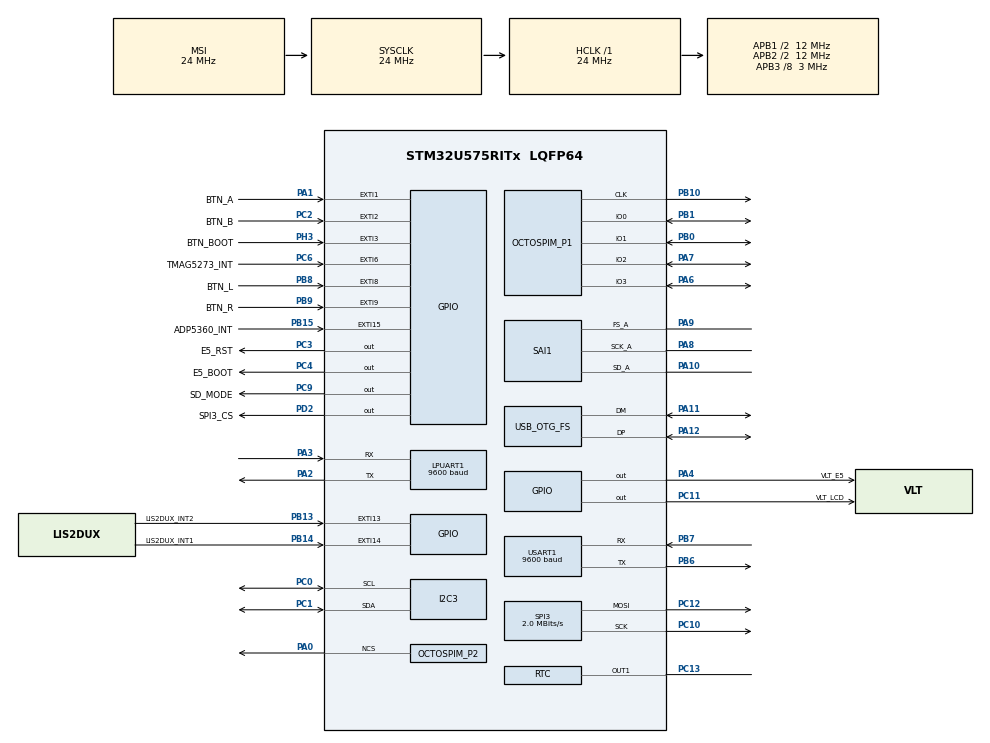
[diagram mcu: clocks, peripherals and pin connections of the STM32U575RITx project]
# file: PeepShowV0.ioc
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CORTEX_M33_NS.userName=CORTEX_M33
FILEX.FX_LX_NOR_INTERFACE=1
FILEX.GENERATE_FILEX_INIT_CODE=false
FILEX.useRTOS=1
GPDMA1.BLKHWREQUEST_GPDMACH3-SIMPLEREQUEST_GPDMACH3=DMA_BREQ_BLOCK
GPDMA1.BLKHWREQUEST_GPDMACH4-SIMPLEREQUEST_GPDMACH4=DMA_BREQ_BLOCK
GPDMA1.BLKHWREQUEST_GPDMACH5-SIMPLEREQUEST_GPDMACH5=DMA_BREQ_BLOCK
GPDMA1.CIRCULARMODE_GPDMACH3=ENABLE
GPDMA1.DATAEXCHANGE_GPDMACH4-SIMPLEREQUEST_GPDMACH4=DMA_EXCHANGE_DEST_BYTE|DMA_EXCHANGE_DEST_HALFWORD|DMA_EXCHANGE_SRC_BYTE
GPDMA1.DATAEXCHANGE_GPDMACH5-SIMPLEREQUEST_GPDMACH5=DMA_EXCHANGE_DEST_BYTE|DMA_EXCHANGE_DEST_HALFWORD|DMA_EXCHANGE_SRC_BYTE
GPDMA1.DESTDATAWIDTH_GPDMACH3=DMA_DEST_DATAWIDTH_HALFWORD
GPDMA1.DESTINC_GPDMACH4=DMA_DINC_INCREMENTED
GPDMA1.DIRECTION_GPDMACH2=DMA_MEMORY_TO_PERIPH
GPDMA1.DIRECTION_GPDMACH3=DMA_MEMORY_TO_PERIPH
GPDMA1.DIRECTION_GPDMACH4=DMA_PERIPH_TO_MEMORY
GPDMA1.DIRECTION_GPDMACH5=DMA_MEMORY_TO_PERIPH
GPDMA1.DMAHANDLE_GPDMACH3=hdmatx
GPDMA1.IPHANDLE_GPDMACH2-SIMPLEREQUEST_GPDMACH2=__NULL
GPDMA1.IPHANDLE_GPDMACH3-SIMPLEREQUEST_GPDMACH3=__NULL
GPDMA1.IPHANDLE_GPDMACH4-SIMPLEREQUEST_GPDMACH4=__NULL
GPDMA1.IPHANDLE_GPDMACH5-SIMPLEREQUEST_GPDMACH5=__NULL
GPDMA1.PRIORITY_GPDMACH2=DMA_LOW_PRIORITY_MID_WEIGHT
GPDMA1.PRIORITY_GPDMACH4=DMA_LOW_PRIORITY_HIGH_WEIGHT
GPDMA1.PRIORITY_GPDMACH5=DMA_LOW_PRIORITY_HIGH_WEIGHT
GPDMA1.REQUEST_GPDMACH2=GPDMA1_REQUEST_USART1_TX
GPDMA1.REQUEST_GPDMACH3=GPDMA1_REQUEST_SAI1_A
GPDMA1.REQUEST_GPDMACH4=GPDMA1_REQUEST_OCTOSPI1
GPDMA1.REQUEST_GPDMACH5=GPDMA1_REQUEST_OCTOSPI1
GPDMA1.SRCDATAWIDTH_GPDMACH3=DMA_SRC_DATAWIDTH_HALFWORD
GPDMA1.SRCINC_GPDMACH2=DMA_SINC_INCREMENTED
GPDMA1.SRCINC_GPDMACH3=DMA_SINC_INCREMENTED
GPDMA1.SRCINC_GPDMACH5=DMA_SINC_INCREMENTED
I2C3.Timing=0x00000E14
LEVELX.LX_NOR_Custom_Interface=1
LEVELX.LX_NOR_Flash_Support=1
LEVELX.LX_THREAD_SAFE_ENABLE=1
LPDMA1.DIRECTION_LPDMACH0=DMA_MEMORY_TO_PERIPH
LPDMA1.IPHANDLE_LPDMACH0-SIMPLEREQUEST_LPDMACH0=__NULL
LPDMA1.PRIORITY_LPDMACH0=DMA_LOW_PRIORITY_HIGH_WEIGHT
LPDMA1.REQUEST_LPDMACH0=LPDMA1_REQUEST_SPI3_TX
LPDMA1.SRCINC_LPDMACH0=DMA_SINC_INCREMENTED
LPUART1.BaudRate=9600
Mcu.Family=STM32U5
Mcu.Name=STM32U575RITx
Mcu.Package=LQFP64
NVIC.EXTI13_IRQn=true\:5\:0\:true\:false\:true\:false\:true\:true\:true
NVIC.EXTI14_IRQn=true\:5\:0\:true\:false\:true\:false\:true\:true\:true
NVIC.EXTI15_IRQn=true\:5\:0\:true\:false\:true\:false\:true\:true\:true
NVIC.EXTI1_IRQn=true\:5\:0\:true\:false\:true\:false\:true\:true\:true
NVIC.EXTI2_IRQn=true\:5\:0\:true\:false\:true\:false\:true\:true\:true
NVIC.EXTI3_IRQn=true\:5\:0\:true\:false\:true\:false\:true\:true\:true
NVIC.EXTI6_IRQn=true\:5\:0\:true\:false\:true\:false\:true\:true\:true
NVIC.EXTI8_IRQn=true\:5\:0\:true\:false\:true\:false\:true\:true\:true
NVIC.EXTI9_IRQn=true\:5\:0\:true\:false\:true\:false\:true\:true\:true
NVIC.GPDMA1_Channel2_IRQn=true\:5\:0\:true\:false\:true\:false\:false\:true\:true
NVIC.GPDMA1_Channel3_IRQn=true\:5\:0\:true\:false\:true\:false\:false\:true\:true
NVIC.GPDMA1_Channel4_IRQn=true\:5\:0\:true\:false\:true\:false\:false\:true\:true
NVIC.GPDMA1_Channel5_IRQn=true\:5\:0\:true\:false\:true\:false\:false\:true\:true
NVIC.LPDMA1_Channel0_IRQn=true\:5\:0\:true\:false\:true\:false\:true\:true\:true
NVIC.OTG_FS_IRQn=true\:0\:0\:false\:false\:true\:false\:true\:true\:true
NVIC.PriorityGroup=NVIC_PRIORITYGROUP_4
NVIC.RTC_IRQn=true\:0\:0\:false\:false\:true\:false\:true\:true\:true
NVIC.SAI1_IRQn=true\:5\:0\:true\:false\:true\:false\:true\:true\:true
NVIC.SPI3_IRQn=true\:5\:0\:true\:false\:true\:false\:true\:true\:true
NVIC.TIM2_IRQn=true\:5\:0\:true\:false\:true\:true\:true\:true\:true
NVIC.TIM6_IRQn=true\:15\:0\:false\:false\:true\:false\:false\:true\:true
NVIC.TimeBase=TIM6_IRQn
NVIC.TimeBaseIP=TIM6
NVIC.USART1_IRQn=true\:5\:0\:true\:false\:true\:false\:true\:true\:true
OCTOSPI1.ChipSelectHighTime=2
OCTOSPI1.ClockPrescaler=8
OCTOSPI1.DeviceSize=24
PA0.Mode=OCTOSPI1_Port2_NCS
PA0.PinAttribute=Free
PA0.Signal=OCTOSPIM_P2_NCS
PA1.GPIO_Label=BTN_A
PA1.GPIO_ModeDefaultEXTI=GPIO_MODE_IT_RISING_FALLING
PA1.PinAttribute=Free
PA1.Signal=GPXTI1
PA10.Mode=SAI_A_Master
PA10.PinAttribute=Free
PA10.Signal=SAI1_SD_A
PA11.Mode=Device_Only
PA11.PinAttribute=Free
PA11.Signal=USB_OTG_FS_DM
PA12.Mode=Device_Only
PA12.PinAttribute=Free
PA12.Signal=USB_OTG_FS_DP
PA13\ (JTMS/SWDIO).Mode=Serial_Wire
PA13\ (JTMS/SWDIO).PinAttribute=Free
PA13\ (JTMS/SWDIO).Signal=DEBUG_JTMS-SWDIO
PA14\ (JTCK/SWCLK).Mode=Serial_Wire
PA14\ (JTCK/SWCLK).PinAttribute=Free
PA14\ (JTCK/SWCLK).Signal=DEBUG_JTCK-SWCLK
PA2.Mode=Asynchronous
PA2.PinAttribute=Free
PA2.Signal=LPUART1_TX
PA3.Mode=Asynchronous
PA3.PinAttribute=Free
PA3.Signal=LPUART1_RX
PA4.GPIO_Label=VLT_E5
PA4.PinAttribute=Free
PA4.PinState=GPIO_PIN_SET
PA4.Signal=GPIO_Output
PA6.Mode=OCTOSPI1_IOL_Port1L
PA6.PinAttribute=Free
PA6.Signal=OCTOSPIM_P1_IO3
PA7.Mode=OCTOSPI1_IOL_Port1L
PA7.PinAttribute=Free
PA7.Signal=OCTOSPIM_P1_IO2
PA8.Mode=SAI_A_Master
PA8.PinAttribute=Free
PA8.Signal=SAI1_SCK_A
PA9.Mode=SAI_A_Master
PA9.PinAttribute=Free
PA9.Signal=SAI1_FS_A
PB0.Mode=OCTOSPI1_IOL_Port1L
PB0.PinAttribute=Free
PB0.Signal=OCTOSPIM_P1_IO1
PB1.Mode=OCTOSPI1_IOL_Port1L
PB1.PinAttribute=Free
PB1.Signal=OCTOSPIM_P1_IO0
PB10.Mode=O1_P1_CLK
PB10.PinAttribute=Free
PB10.Signal=OCTOSPIM_P1_CLK
PB13.GPIO_Label=LIS2DUX_INT2
PB13.PinAttribute=Free
PB13.Signal=GPXTI13
PB14.GPIO_Label=LIS2DUX_INT1
PB14.PinAttribute=Free
PB14.Signal=GPXTI14
PB15.GPIO_Label=ADP5360_INT
PB15.PinAttribute=Free
PB15.Signal=GPXTI15
PB6.Mode=Asynchronous
PB6.PinAttribute=Free
PB6.Signal=USART1_TX
PB7.Mode=Asynchronous
PB7.PinAttribute=Free
PB7.Signal=USART1_RX
PB8.GPIO_Label=BTN_L
PB8.GPIO_ModeDefaultEXTI=GPIO_MODE_IT_RISING_FALLING
PB8.PinAttribute=Free
PB8.Signal=GPXTI8
PB9.GPIO_Label=BTN_R
PB9.GPIO_ModeDefaultEXTI=GPIO_MODE_IT_RISING_FALLING
PB9.PinAttribute=Free
PB9.Signal=GPXTI9
PC0.Mode=I2C
PC0.PinAttribute=Free
PC0.Signal=I2C3_SCL
PC1.Mode=I2C
PC1.PinAttribute=Free
PC1.Signal=I2C3_SDA
PC10.Mode=TX_Only_Simplex_Unidirect_Master
PC10.PinAttribute=Free
PC10.Signal=SPI3_SCK
PC11.GPIO_Label=VLT_LCD
PC11.PinAttribute=Free
PC11.PinState=GPIO_PIN_RESET
PC11.Signal=GPIO_Output
PC12.Mode=TX_Only_Simplex_Unidirect_Master
PC12.PinAttribute=Free
PC12.Signal=SPI3_MOSI
PC13.Mode=Calibration_1Hz
PC13.PinAttribute=Free
PC13.Signal=RTC_OUT1
PC14-OSC32_IN\ (PC14).Mode=LSE-External-Clock-Source
PC14-OSC32_IN\ (PC14).PinAttribute=Free
PC14-OSC32_IN\ (PC14).Signal=RCC_OSC32_IN
PC2.GPIO_Label=BTN_B
PC2.GPIO_ModeDefaultEXTI=GPIO_MODE_IT_RISING_FALLING
PC2.PinAttribute=Free
PC2.Signal=GPXTI2
PC3.GPIO_Label=E5_RST
PC3.PinAttribute=Free
PC3.PinState=GPIO_PIN_SET
PC3.Signal=GPIO_Output
PC4.GPIO_Label=E5_BOOT
PC4.PinAttribute=Free
PC4.Signal=GPIO_Output
PC6.GPIO_Label=TMAG5273_INT
PC6.PinAttribute=Free
PC6.Signal=GPXTI6
PC9.GPIO_Label=SD_MODE
PC9.PinAttribute=Free
PC9.Signal=GPIO_Output
PD2.GPIO_Label=SPI3_CS
PD2.PinAttribute=Free
PD2.Signal=GPIO_Output
PH3-BOOT0.GPIO_Label=BTN_BOOT
PH3-BOOT0.GPIO_ModeDefaultEXTI=GPIO_MODE_IT_RISING_FALLING
PH3-BOOT0.PinAttribute=Free
PH3-BOOT0.Signal=GPXTI3
PWR.DMA2DPowerDownInStopMode=PWR_DMA2DRAM_FULL_STOP_RETENTION
PWR.PKA32RAMPowerDownInStopMode=PWR_PKA32RAM_FULL_STOP_RETENTION
PWR.PeriphPowerDownInStopMode=__NULL
ProjectManager.HeapSize=0x1000
ProjectManager.StackSize=0x1000
ProjectManager.TargetToolchain=CMake
RCC.ADCFreq_Value=16000000
RCC.AHBFreq_Value=24000000
RCC.APB1CLKDivider=RCC_HCLK_DIV2
RCC.APB1Freq_Value=12000000
RCC.APB1TimFreq_Value=24000000
RCC.APB2CLKDivider=RCC_HCLK_DIV2
RCC.APB2Freq_Value=12000000
RCC.APB2TimFreq_Value=24000000
RCC.APB3CLKDivider=RCC_HCLK_DIV8
RCC.APB3Freq_Value=3000000
RCC.CortexFreq_Value=24000000
RCC.EPOD_VALUE=24000000
RCC.HCLKFreq_Value=24000000
RCC.HSE_VALUE=16000000
RCC.HSI48_VALUE=48000000
RCC.HSI_VALUE=16000000
RCC.I2C3CLockSelection=RCC_I2C3CLKSOURCE_MSIK
RCC.LPUART1CLockSelectionVirtual=RCC_LPUART1CLKSOURCE_LSE
RCC.LSE_VALUE=32768
RCC.LSIDIV_VALUE=32000
RCC.MSIClockRange=RCC_MSIRANGE_1
RCC.MSIKERON=true
RCC.MSI_VALUE=24000000
RCC.OCTOSPIMCLockSelection=RCC_OSPICLKSOURCE_PLL2
RCC.PLL1P=125
RCC.PLL1R=1
RCC.PLL2FRACN=0
RCC.PLL2N=32
RCC.PLL2P=125
RCC.PLL2Q=8
RCC.PLL2Source=RCC_PLLSOURCE_HSI
RCC.PLL3FRACN=0
RCC.PLL3M=9
RCC.PLL3N=83
RCC.PLL3P=27
RCC.PLLFRACN=0
RCC.PLLN=10
RCC.RTCClockSelection=RCC_RTCCLKSOURCE_LSE
RCC.SPI3CLockSelection=RCC_SPI3CLKSOURCE_MSIK
RCC.SYSCLKFreq_VALUE=24000000
RCC.USART1CLockSelectionVirtual=RCC_USART1CLKSOURCE_HSI
RCC.USBFreq_Value=48000000
RCC.VCOOutputFreq_Value=240000000
RTC.rtcPrivilegeFull=RTC_PRIVILEGE_FULL_NO
SAI1.AudioFrequency-SAI_A_Master=SAI_AUDIO_FREQUENCY_16K
SAI1.ErrorAudioFreq-SAI_A_Master=45.22 %
SAI1.InitProtocol-SAI_A_Master=Enable
SAI1.Instance-SAI_A_Master=SAI$Index_Block_A
SAI1.MckOutput-SAI_A_Master=SAI_MCK_OUTPUT_DISABLE
SAI1.NoDivider-SAI_A_Master=SAI_MASTERDIVIDER_DISABLE
SAI1.OutputDrive-SAI_A_Master=SAI_OUTPUTDRIVE_ENABLE
SAI1.RealAudioFreq-SAI_A_Master=16.0 KHz
SAI1.VirtualMode-SAI_A_Master=VM_MASTER
SAI1.VirtualProtocol-SAI_A_BASIC=VM_BASIC_PROTOCOL
SPI3.BaudRatePrescaler=SPI_BAUDRATEPRESCALER_2
SPI3.CalculateBaudRate=2.0 MBits/s
SPI3.Direction=SPI_DIRECTION_2LINES_TXONLY
SPI3.FirstBit=SPI_FIRSTBIT_LSB
SPI3.Mode=SPI_MODE_MASTER
SPI3.NSSPMode=SPI_NSS_PULSE_DISABLE
SPI3.TriggerState=SPI_AUTO_MODE_DISABLE
SPI3.VirtualType=VM_MASTER
THREADX.TX_APP_GENERATE_INIT_CODE=true
THREADX.TX_APP_MEM_POOL_SIZE=16384
THREADX.TX_ENABLE_BASEPRI_SUPPORT=1
THREADX.TX_LOW_POWER=1
THREADX.TX_TIMER_THREAD_PRIORITY=2
TIM2.PeriodNoDither=33332
TIM2.Prescaler=15
USART1.BaudRate=9600
USART1.VirtualMode-Asynchronous=VM_ASYNC
USART1.WordLength=WORDLENGTH_8B
USBX.BSP.number=1
USBX.Core_System=1
USBX.USBD_COMPOSITE_USE_IAD=0
USBX.USBD_MANUFACTURER_STRING=Roscosmo
USBX.USBD_PRODUCT_STRING=PEEPSHOW
USBX.UX_DEVICE_STORAGE=1
USBX.UX_Device_Controller=1
USBX.UX_Device_CoreStack=1
USBX0.BSP.STBoard=false
USBX0.BSP.api=Unknown
USBX0.BSP.condition=SEMAOoUSBOoOTGOoFSOoDEVICEOoFOROoUSBX & \!DIE455
USBX0.BSP.instance=USB_OTG_FS
USBX0.BSP.ip=USB_OTG_FS
USBX0.BSP.mode=Device_Only
USBX0.BSP.name=USBDevice
USBX0.BSP.solution=USB_OTG_FS
USB_OTG_FS.VirtualMode=Device_Only
VP_FILEX_VS_FileOoSystemJjFileXJjCore.Mode=FileX_Core
VP_FILEX_VS_LevelXOoNOROointerface.Mode=LevelX_NOR_interface
VP_GPDMA1_VS_GPDMACH2.Mode=SIMPLEREQUEST_GPDMACH2
VP_GPDMA1_VS_GPDMACH3.Mode=SIMPLEREQUEST_GPDMACH3
VP_GPDMA1_VS_GPDMACH4.Mode=SIMPLEREQUEST_GPDMACH4
VP_GPDMA1_VS_GPDMACH5.Mode=SIMPLEREQUEST_GPDMACH5
VP_ICACHE_VS_ICACHE.Mode=DirectMappedCache
VP_LEVELX_VS_FileOoSystemJjLevelXJjNOR.Mode=LevelX_NOR_Flash_Support
VP_LEVELX_VS_NOROocustomOointerface.Mode=NOR_custom_interface
VP_LPBAMQUEUE_VS_QUEUE.Mode=QUEUEMODE
VP_LPBAM_VS_SIG1.Mode=SmartRun
VP_LPBAM_VS_SIG4.Mode=LPDMA1
VP_LPDMA1_VS_LPDMACH0.Mode=SIMPLEREQUEST_LPDMACH0
VP_MEMORYMAP_VS_MEMORYMAP.Mode=CurAppReg
VP_OCTOSPI1_VS_quad.Mode=quad_mode
VP_PWR_VS_LPOM.Mode=PowerOptimisation
VP_PWR_VS_SECSignals.Mode=Security/Privilege
VP_RTC_VS_RTC_Activate.Mode=RTC_Enabled
VP_RTC_VS_RTC_Calendar.Mode=RTC_Calendar
VP_RTC_VS_RTC_WakeUp_intern.Mode=WakeUp
VP_SAI1_VP_$IpInstance_SAIA_SAI_BASIC.Mode=SAI_A_BASIC
VP_SYS_VS_tim6.Mode=TIM6
VP_THREADX_VS_RTOSJjThreadXJjCoreJjDefault.Mode=Core_Default
VP_THREADX_VS_RTOSJjThreadXJjLow_Power_Support.Mode=Low_Power_Support
VP_TIM2_VS_ClockSourceINT.Mode=Internal
VP_USBX_Core_System.Mode=Core_System
VP_USBX_UX\ Device\ Controller_FS.Mode=UX_Device_Controller_FS
VP_USBX_UX\ Device\ CoreStack_FS.Mode=UX_Device_CoreStack_FS
VP_USBX_UX\ Device\ MSC_FS.Mode=UX_Device_class_MSC_FS
board=custom

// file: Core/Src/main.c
/* USER CODE BEGIN Header */
/**
  ******************************************************************************
  * @file           : main.c
  * @brief          : Main program body
  ******************************************************************************
  * @attention
  *
  * Copyright (c) 2026 STMicroelectronics.
  * All rights reserved.
  *
  * This software is licensed under terms that can be found in the LICENSE file
  * in the root directory of this software component.
  * If no LICENSE file comes with this software, it is provided AS-IS.
  *
  ******************************************************************************
  */
/* USER CODE END Header */
#include "app_threadx.h"
#include "main.h"

/* USER CODE BEGIN Includes */
#include "knobs_autogen.h"
/* USER CODE END Includes */

I2C_HandleTypeDef hi2c3;

UART_HandleTypeDef hlpuart1;
UART_HandleTypeDef huart1;
DMA_HandleTypeDef handle_GPDMA1_Channel2;

OSPI_HandleTypeDef hospi1;
DMA_HandleTypeDef handle_GPDMA1_Channel5;
DMA_HandleTypeDef handle_GPDMA1_Channel4;

RTC_HandleTypeDef hrtc;

SAI_HandleTypeDef hsai_BlockA1;
DMA_NodeTypeDef Node_GPDMA1_Channel3;
DMA_QListTypeDef List_GPDMA1_Channel3;
DMA_HandleTypeDef handle_GPDMA1_Channel3;

SPI_HandleTypeDef hspi3;
DMA_HandleTypeDef handle_LPDMA1_Channel0;

TIM_HandleTypeDef htim2;

PCD_HandleTypeDef hpcd_USB_OTG_FS;

void SystemClock_Config(void);
void PeriphCommonClock_Config(void);
static void SystemPower_Config(void);
static void MX_GPIO_Init(void);
static void MX_GPDMA1_Init(void);
static void MX_LPDMA1_Init(void);
static void MX_RTC_Init(void);
static void MX_SPI3_Init(void);
static void MX_LPUART1_UART_Init(void);
static void MX_I2C3_Init(void);
static void MX_OCTOSPI1_Init(void);
static void MX_SAI1_Init(void);
static void MX_USART1_UART_Init(void);
static void MX_ICACHE_Init(void);
static void MX_USB_OTG_FS_PCD_Init(void);
static void MX_TIM2_Init(void);
/* USER CODE BEGIN PFP */
static void ApplyDebugLowPowerPolicy(void);

/* USER CODE END PFP */

/* USER CODE BEGIN 0 */
static void ApplyDebugLowPowerPolicy(void)
{
  if (KNOB_DEBUG_SWO_ENABLE != 0)
  {
    HAL_DBGMCU_EnableDBGStopMode();
    HAL_DBGMCU_EnableDBGStandbyMode();
  }
  else
  {
    HAL_DBGMCU_DisableDBGStopMode();
    HAL_DBGMCU_DisableDBGStandbyMode();
  }
}

/* USER CODE END 0 */

int main(void)
{

  /* MCU Configuration--------------------------------------------------------*/

  /* Reset of all peripherals, Initializes the Flash interface and the Systick. */

  HAL_Init();

  /* Configure the system clock */
  SystemClock_Config();

  /* Configure the peripherals common clocks */
  PeriphCommonClock_Config();

  /* Configure the System Power */
  SystemPower_Config();

  /* USER CODE BEGIN SysInit */
  ApplyDebugLowPowerPolicy();

  /* USER CODE END SysInit */

  /* Initialize all configured peripherals */
  MX_GPIO_Init();
  MX_GPDMA1_Init();
  MX_LPDMA1_Init();
  MX_RTC_Init();
  MX_SPI3_Init();
  MX_LPUART1_UART_Init();
  MX_I2C3_Init();
  MX_OCTOSPI1_Init();
  MX_SAI1_Init();
  MX_USART1_UART_Init();
  MX_ICACHE_Init();
  MX_USB_OTG_FS_PCD_Init();
  MX_TIM2_Init();
  /* USER CODE BEGIN 2 */
  /* Keep OTG FS IRQ masked until USBX stack is fully ready. */
  HAL_NVIC_DisableIRQ(OTG_FS_IRQn);
  NVIC_ClearPendingIRQ(OTG_FS_IRQn);
  /* USER CODE END 2 */

  MX_ThreadX_Init();

  /* We should never get here as control is now taken by the scheduler */

  /* Infinite loop */
  while (1)
  {

  }
}

void SystemClock_Config(void)
{
  RCC_OscInitTypeDef RCC_OscInitStruct = {0};
  RCC_ClkInitTypeDef RCC_ClkInitStruct = {0};

  /** Configure the main internal regulator output voltage
  */
  if (HAL_PWREx_ControlVoltageScaling(PWR_REGULATOR_VOLTAGE_SCALE3) != HAL_OK)
  {
    Error_Handler();
  }

  /** Initializes the CPU, AHB and APB buses clocks
  */
  RCC_OscInitStruct.OscillatorType = RCC_OSCILLATORTYPE_HSI48|RCC_OSCILLATORTYPE_HSI
                              |RCC_OSCILLATORTYPE_LSE|RCC_OSCILLATORTYPE_MSI
                              |RCC_OSCILLATORTYPE_MSIK;
  RCC_OscInitStruct.LSEState = RCC_LSE_BYPASS;
  RCC_OscInitStruct.HSIState = RCC_HSI_ON;
  RCC_OscInitStruct.HSI48State = RCC_HSI48_ON;
  RCC_OscInitStruct.HSICalibrationValue = RCC_HSICALIBRATION_DEFAULT;
  RCC_OscInitStruct.MSIState = RCC_MSI_ON;
  RCC_OscInitStruct.MSICalibrationValue = RCC_MSICALIBRATION_DEFAULT;
  RCC_OscInitStruct.MSIClockRange = RCC_MSIRANGE_1;
  RCC_OscInitStruct.MSIKClockRange = RCC_MSIKRANGE_4;
  RCC_OscInitStruct.MSIKState = RCC_MSIK_ON;
  RCC_OscInitStruct.PLL.PLLState = RCC_PLL_NONE;
  if (HAL_RCC_OscConfig(&RCC_OscInitStruct) != HAL_OK)
  {
    Error_Handler();
  }

  /** Initializes the CPU, AHB and APB buses clocks
  */
  RCC_ClkInitStruct.ClockType = RCC_CLOCKTYPE_HCLK|RCC_CLOCKTYPE_SYSCLK
                              |RCC_CLOCKTYPE_PCLK1|RCC_CLOCKTYPE_PCLK2
                              |RCC_CLOCKTYPE_PCLK3;
  RCC_ClkInitStruct.SYSCLKSource = RCC_SYSCLKSOURCE_MSI;
  RCC_ClkInitStruct.AHBCLKDivider = RCC_SYSCLK_DIV1;
  RCC_ClkInitStruct.APB1CLKDivider = RCC_HCLK_DIV2;
  RCC_ClkInitStruct.APB2CLKDivider = RCC_HCLK_DIV2;
  RCC_ClkInitStruct.APB3CLKDivider = RCC_HCLK_DIV8;

  if (HAL_RCC_ClockConfig(&RCC_ClkInitStruct, FLASH_LATENCY_0) != HAL_OK)
  {
    Error_Handler();
  }

  /** Enable the force of MSIK in stop mode
  */
  __HAL_RCC_MSIKSTOP_ENABLE();
}

void PeriphCommonClock_Config(void)
{
  RCC_PeriphCLKInitTypeDef PeriphClkInit = {0};

  /** Initializes the common periph clock
  */
  PeriphClkInit.PeriphClockSelection = RCC_PERIPHCLK_OSPI|RCC_PERIPHCLK_SAI1;
  PeriphClkInit.Sai1ClockSelection = RCC_SAI1CLKSOURCE_PLL2;
  PeriphClkInit.OspiClockSelection = RCC_OSPICLKSOURCE_PLL2;
  PeriphClkInit.PLL2.PLL2Source = RCC_PLLSOURCE_HSI;
  PeriphClkInit.PLL2.PLL2M = 1;
  PeriphClkInit.PLL2.PLL2N = 32;
  PeriphClkInit.PLL2.PLL2P = 125;
  PeriphClkInit.PLL2.PLL2Q = 8;
  PeriphClkInit.PLL2.PLL2R = 2;
  PeriphClkInit.PLL2.PLL2RGE = RCC_PLLVCIRANGE_1;
  PeriphClkInit.PLL2.PLL2FRACN = 0;
  PeriphClkInit.PLL2.PLL2ClockOut = RCC_PLL2_DIVP|RCC_PLL2_DIVQ;
  if (HAL_RCCEx_PeriphCLKConfig(&PeriphClkInit) != HAL_OK)
  {
    Error_Handler();
  }
}

/**
  * @brief Power Configuration
  * @retval None
  */
static void SystemPower_Config(void)
{

  /*
   * SRAM Power Down In Stop Mode Config
   */
  HAL_PWREx_DisableRAMsContentStopRetention(PWR_DMA2DRAM_FULL_STOP_RETENTION);
  HAL_PWREx_DisableRAMsContentStopRetention(PWR_PKA32RAM_FULL_STOP_RETENTION);
/* USER CODE BEGIN PWR */
  /*
   * STOP2 should not retain cache or peripheral RAM contents that can be
   * repopulated on wake. Do not touch general SRAM banks here: the live RTOS
   * image still spans normal SRAM outside SRAM4.
   */
#ifdef PWR_ICACHE_FULL_STOP
  HAL_PWREx_DisableRAMsContentStopRetention(PWR_ICACHE_FULL_STOP_RETENTION);
#endif
#ifdef PWR_DCACHE1_FULL_STOP
  HAL_PWREx_DisableRAMsContentStopRetention(PWR_DCACHE1_FULL_STOP_RETENTION);
#endif
#ifdef PWR_DCACHE2_FULL_STOP
  HAL_PWREx_DisableRAMsContentStopRetention(PWR_DCACHE2_FULL_STOP_RETENTION);
#endif
#ifdef PWR_PERIPHRAM_FULL_STOP
  HAL_PWREx_DisableRAMsContentStopRetention(PWR_PERIPHRAM_FULL_STOP_RETENTION);
#endif
#ifdef PWR_GRAPHICPRAM_FULL_STOP
  HAL_PWREx_DisableRAMsContentStopRetention(PWR_GRAPHICPRAM_FULL_STOP_RETENTION);
#endif
#ifdef PWR_DSIRAM_FULL_STOP
  HAL_PWREx_DisableRAMsContentStopRetention(PWR_DSIRAM_FULL_STOP_RETENTION);
#endif
#ifdef PWR_JPEGRAM_FULL_STOP
  HAL_PWREx_DisableRAMsContentStopRetention(PWR_JPEGRAM_FULL_STOP_RETENTION);
#endif

  /*
   * The linked image plus reserved heap/stack extends to 0x20054478, which sits
   * inside SRAM3 page 2 on this STM32U575. SRAM3 pages 3+ are therefore unused
   * by the live STOP2 image and can be powered down safely.
   */
#ifdef PWR_SRAM3_PAGE3_STOP
  HAL_PWREx_DisableRAMsContentStopRetention(PWR_SRAM3_PAGE3_STOP_RETENTION);
#endif
#ifdef PWR_SRAM3_PAGE4_STOP
  HAL_PWREx_DisableRAMsContentStopRetention(PWR_SRAM3_PAGE4_STOP_RETENTION);
#endif
#ifdef PWR_SRAM3_PAGE5_STOP
  HAL_PWREx_DisableRAMsContentStopRetention(PWR_SRAM3_PAGE5_STOP_RETENTION);
#endif
#ifdef PWR_SRAM3_PAGE6_STOP
  HAL_PWREx_DisableRAMsContentStopRetention(PWR_SRAM3_PAGE6_STOP_RETENTION);
#endif
#ifdef PWR_SRAM3_PAGE7_STOP
  HAL_PWREx_DisableRAMsContentStopRetention(PWR_SRAM3_PAGE7_STOP_RETENTION);
#endif
#ifdef PWR_SRAM3_PAGE8_STOP
  HAL_PWREx_DisableRAMsContentStopRetention(PWR_SRAM3_PAGE8_STOP_RETENTION);
#endif
#ifdef PWR_SRAM3_PAGE9_STOP
  HAL_PWREx_DisableRAMsContentStopRetention(PWR_SRAM3_PAGE9_STOP_RETENTION);
#endif
/* USER CODE END PWR */
}

static void MX_GPDMA1_Init(void)
{

  /* Peripheral clock enable */
  __HAL_RCC_GPDMA1_CLK_ENABLE();

  /* GPDMA1 interrupt Init */
    HAL_NVIC_SetPriority(GPDMA1_Channel2_IRQn, 5, 0);
    HAL_NVIC_EnableIRQ(GPDMA1_Channel2_IRQn);
    HAL_NVIC_SetPriority(GPDMA1_Channel3_IRQn, 5, 0);
    HAL_NVIC_EnableIRQ(GPDMA1_Channel3_IRQn);
    HAL_NVIC_SetPriority(GPDMA1_Channel4_IRQn, 5, 0);
    HAL_NVIC_EnableIRQ(GPDMA1_Channel4_IRQn);
    HAL_NVIC_SetPriority(GPDMA1_Channel5_IRQn, 5, 0);
    HAL_NVIC_EnableIRQ(GPDMA1_Channel5_IRQn);

}

static void MX_I2C3_Init(void)
{

  hi2c3.Instance = I2C3;
  hi2c3.Init.Timing = 0x00000E14;
  hi2c3.Init.OwnAddress1 = 0;
  hi2c3.Init.AddressingMode = I2C_ADDRESSINGMODE_7BIT;
  hi2c3.Init.DualAddressMode = I2C_DUALADDRESS_DISABLE;
  hi2c3.Init.OwnAddress2 = 0;
  hi2c3.Init.OwnAddress2Masks = I2C_OA2_NOMASK;
  hi2c3.Init.GeneralCallMode = I2C_GENERALCALL_DISABLE;
  hi2c3.Init.NoStretchMode = I2C_NOSTRETCH_DISABLE;
  if (HAL_I2C_Init(&hi2c3) != HAL_OK)
  {
    Error_Handler();
  }

  /** Configure Analogue filter
  */
  if (HAL_I2CEx_ConfigAnalogFilter(&hi2c3, I2C_ANALOGFILTER_ENABLE) != HAL_OK)
  {
    Error_Handler();
  }

  /** Configure Digital filter
  */
  if (HAL_I2CEx_ConfigDigitalFilter(&hi2c3, 0) != HAL_OK)
  {
    Error_Handler();
  }

}

static void MX_ICACHE_Init(void)
{

  /** Enable instruction cache in 1-way (direct mapped cache)
  */
  if (HAL_ICACHE_ConfigAssociativityMode(ICACHE_1WAY) != HAL_OK)
  {
    Error_Handler();
  }
  if (HAL_ICACHE_Enable() != HAL_OK)
  {
    Error_Handler();
  }

}

static void MX_LPDMA1_Init(void)
{

  /* Peripheral clock enable */
  __HAL_RCC_LPDMA1_CLK_ENABLE();

  /* LPDMA1 interrupt Init */
    HAL_NVIC_SetPriority(LPDMA1_Channel0_IRQn, 5, 0);
    HAL_NVIC_EnableIRQ(LPDMA1_Channel0_IRQn);

}

static void MX_LPUART1_UART_Init(void)
{

  hlpuart1.Instance = LPUART1;
  hlpuart1.Init.BaudRate = 9600;
  hlpuart1.Init.WordLength = UART_WORDLENGTH_8B;
  hlpuart1.Init.StopBits = UART_STOPBITS_1;
  hlpuart1.Init.Parity = UART_PARITY_NONE;
  hlpuart1.Init.Mode = UART_MODE_TX_RX;
  hlpuart1.Init.HwFlowCtl = UART_HWCONTROL_NONE;
  hlpuart1.Init.OneBitSampling = UART_ONE_BIT_SAMPLE_DISABLE;
  hlpuart1.AdvancedInit.AdvFeatureInit = UART_ADVFEATURE_NO_INIT;
  hlpuart1.FifoMode = UART_FIFOMODE_DISABLE;
  if (HAL_UART_Init(&hlpuart1) != HAL_OK)
  {
    Error_Handler();
  }
  if (HAL_UARTEx_SetTxFifoThreshold(&hlpuart1, UART_TXFIFO_THRESHOLD_1_8) != HAL_OK)
  {
    Error_Handler();
  }
  if (HAL_UARTEx_SetRxFifoThreshold(&hlpuart1, UART_RXFIFO_THRESHOLD_1_8) != HAL_OK)
  {
    Error_Handler();
  }
  if (HAL_UARTEx_DisableFifoMode(&hlpuart1) != HAL_OK)
  {
    Error_Handler();
  }

}

static void MX_USART1_UART_Init(void)
{

  huart1.Instance = USART1;
  huart1.Init.BaudRate = 9600;
  huart1.Init.WordLength = UART_WORDLENGTH_8B;
  huart1.Init.StopBits = UART_STOPBITS_1;
  huart1.Init.Parity = UART_PARITY_NONE;
  huart1.Init.Mode = UART_MODE_TX_RX;
  huart1.Init.HwFlowCtl = UART_HWCONTROL_NONE;
  huart1.Init.OverSampling = UART_OVERSAMPLING_16;
  huart1.Init.OneBitSampling = UART_ONE_BIT_SAMPLE_DISABLE;
  huart1.Init.ClockPrescaler = UART_PRESCALER_DIV1;
  huart1.AdvancedInit.AdvFeatureInit = UART_ADVFEATURE_NO_INIT;
  if (HAL_UART_Init(&huart1) != HAL_OK)
  {
    Error_Handler();
  }
  if (HAL_UARTEx_SetTxFifoThreshold(&huart1, UART_TXFIFO_THRESHOLD_1_8) != HAL_OK)
  {
    Error_Handler();
  }
  if (HAL_UARTEx_SetRxFifoThreshold(&huart1, UART_RXFIFO_THRESHOLD_1_8) != HAL_OK)
  {
    Error_Handler();
  }
  if (HAL_UARTEx_DisableFifoMode(&huart1) != HAL_OK)
  {
    Error_Handler();
  }

}

static void MX_OCTOSPI1_Init(void)
{

  OSPIM_CfgTypeDef sOspiManagerCfg = {0};
  HAL_OSPI_DLYB_CfgTypeDef HAL_OSPI_DLYB_Cfg_Struct = {0};

  /* OCTOSPI1 parameter configuration*/
  hospi1.Instance = OCTOSPI1;
  hospi1.Init.FifoThreshold = 1;
  hospi1.Init.DualQuad = HAL_OSPI_DUALQUAD_DISABLE;
  hospi1.Init.MemoryType = HAL_OSPI_MEMTYPE_MICRON;
  hospi1.Init.DeviceSize = 24;
  hospi1.Init.ChipSelectHighTime = 2;
  hospi1.Init.FreeRunningClock = HAL_OSPI_FREERUNCLK_DISABLE;
  hospi1.Init.ClockMode = HAL_OSPI_CLOCK_MODE_0;
  hospi1.Init.WrapSize = HAL_OSPI_WRAP_NOT_SUPPORTED;
  hospi1.Init.ClockPrescaler = 8;
  hospi1.Init.SampleShifting = HAL_OSPI_SAMPLE_SHIFTING_NONE;
  hospi1.Init.DelayHoldQuarterCycle = HAL_OSPI_DHQC_DISABLE;
  hospi1.Init.ChipSelectBoundary = 0;
  hospi1.Init.DelayBlockBypass = HAL_OSPI_DELAY_BLOCK_BYPASSED;
  hospi1.Init.MaxTran = 0;
  hospi1.Init.Refresh = 0;
  if (HAL_OSPI_Init(&hospi1) != HAL_OK)
  {
    Error_Handler();
  }
  sOspiManagerCfg.ClkPort = 1;
  sOspiManagerCfg.NCSPort = 2;
  sOspiManagerCfg.IOLowPort = HAL_OSPIM_IOPORT_1_LOW;
  if (HAL_OSPIM_Config(&hospi1, &sOspiManagerCfg, HAL_OSPI_TIMEOUT_DEFAULT_VALUE) != HAL_OK)
  {
    Error_Handler();
  }
  HAL_OSPI_DLYB_Cfg_Struct.Units = 0;
  HAL_OSPI_DLYB_Cfg_Struct.PhaseSel = 0;
  if (HAL_OSPI_DLYB_SetConfig(&hospi1, &HAL_OSPI_DLYB_Cfg_Struct) != HAL_OK)
  {
    Error_Handler();
  }

}

static void MX_RTC_Init(void)
{

  RTC_PrivilegeStateTypeDef privilegeState = {0};
  RTC_TimeTypeDef sTime = {0};
  RTC_DateTypeDef sDate = {0};

  /** Initialize RTC Only
  */
  hrtc.Instance = RTC;
  hrtc.Init.HourFormat = RTC_HOURFORMAT_24;
  hrtc.Init.AsynchPrediv = 127;
  hrtc.Init.SynchPrediv = 255;
  hrtc.Init.OutPut = RTC_OUTPUT_DISABLE;
  hrtc.Init.OutPutRemap = RTC_OUTPUT_REMAP_NONE;
  hrtc.Init.OutPutPolarity = RTC_OUTPUT_POLARITY_HIGH;
  hrtc.Init.OutPutType = RTC_OUTPUT_TYPE_OPENDRAIN;
  hrtc.Init.OutPutPullUp = RTC_OUTPUT_PULLUP_NONE;
  hrtc.Init.BinMode = RTC_BINARY_NONE;
  if (HAL_RTC_Init(&hrtc) != HAL_OK)
  {
    Error_Handler();
  }
  privilegeState.rtcPrivilegeFull = RTC_PRIVILEGE_FULL_NO;
  privilegeState.backupRegisterPrivZone = RTC_PRIVILEGE_BKUP_ZONE_NONE;
  privilegeState.backupRegisterStartZone2 = RTC_BKP_DR0;
  privilegeState.backupRegisterStartZone3 = RTC_BKP_DR0;
  if (HAL_RTCEx_PrivilegeModeSet(&hrtc, &privilegeState) != HAL_OK)
  {
    Error_Handler();
  }

  /** Initialize RTC and set the Time and Date
  */
  sTime.Hours = 0x0;
  sTime.Minutes = 0x0;
  sTime.Seconds = 0x0;
  sTime.DayLightSaving = RTC_DAYLIGHTSAVING_NONE;
  sTime.StoreOperation = RTC_STOREOPERATION_RESET;
  if (HAL_RTC_SetTime(&hrtc, &sTime, RTC_FORMAT_BCD) != HAL_OK)
  {
    Error_Handler();
  }
  sDate.WeekDay = RTC_WEEKDAY_MONDAY;
  sDate.Month = RTC_MONTH_JANUARY;
  sDate.Date = 0x1;
  sDate.Year = 0x0;

  if (HAL_RTC_SetDate(&hrtc, &sDate, RTC_FORMAT_BCD) != HAL_OK)
  {
    Error_Handler();
  }

  /** Enable the WakeUp
  */
  if (HAL_RTCEx_SetWakeUpTimer_IT(&hrtc, 0, RTC_WAKEUPCLOCK_RTCCLK_DIV16, 0) != HAL_OK)
  {
    Error_Handler();
  }

  /** Enable Calibration
  */
  if (HAL_RTCEx_SetCalibrationOutPut(&hrtc, RTC_CALIBOUTPUT_1HZ) != HAL_OK)
  {
    Error_Handler();
  }

}

static void MX_SAI1_Init(void)
{

  hsai_BlockA1.Instance = SAI1_Block_A;
  hsai_BlockA1.Init.AudioMode = SAI_MODEMASTER_TX;
  hsai_BlockA1.Init.Synchro = SAI_ASYNCHRONOUS;
  hsai_BlockA1.Init.OutputDrive = SAI_OUTPUTDRIVE_ENABLE;
  hsai_BlockA1.Init.NoDivider = SAI_MASTERDIVIDER_DISABLE;
  hsai_BlockA1.Init.FIFOThreshold = SAI_FIFOTHRESHOLD_EMPTY;
  hsai_BlockA1.Init.AudioFrequency = SAI_AUDIO_FREQUENCY_16K;
  hsai_BlockA1.Init.SynchroExt = SAI_SYNCEXT_DISABLE;
  hsai_BlockA1.Init.MckOutput = SAI_MCK_OUTPUT_DISABLE;
  hsai_BlockA1.Init.MonoStereoMode = SAI_STEREOMODE;
  hsai_BlockA1.Init.CompandingMode = SAI_NOCOMPANDING;
  hsai_BlockA1.Init.TriState = SAI_OUTPUT_NOTRELEASED;
  if (HAL_SAI_InitProtocol(&hsai_BlockA1, SAI_I2S_STANDARD, SAI_PROTOCOL_DATASIZE_16BIT, 2) != HAL_OK)
  {
    Error_Handler();
  }

}

static void MX_SPI3_Init(void)
{

  SPI_AutonomousModeConfTypeDef HAL_SPI_AutonomousMode_Cfg_Struct = {0};

  /* SPI3 parameter configuration*/
  hspi3.Instance = SPI3;
  hspi3.Init.Mode = SPI_MODE_MASTER;
  hspi3.Init.Direction = SPI_DIRECTION_2LINES_TXONLY;
  hspi3.Init.DataSize = SPI_DATASIZE_8BIT;
  hspi3.Init.CLKPolarity = SPI_POLARITY_LOW;
  hspi3.Init.CLKPhase = SPI_PHASE_1EDGE;
  hspi3.Init.NSS = SPI_NSS_SOFT;
  hspi3.Init.BaudRatePrescaler = SPI_BAUDRATEPRESCALER_2;
  hspi3.Init.FirstBit = SPI_FIRSTBIT_LSB;
  hspi3.Init.TIMode = SPI_TIMODE_DISABLE;
  hspi3.Init.CRCCalculation = SPI_CRCCALCULATION_DISABLE;
  hspi3.Init.CRCPolynomial = 0x7;
  hspi3.Init.NSSPMode = SPI_NSS_PULSE_DISABLE;
  hspi3.Init.NSSPolarity = SPI_NSS_POLARITY_LOW;
  hspi3.Init.FifoThreshold = SPI_FIFO_THRESHOLD_01DATA;
  hspi3.Init.MasterSSIdleness = SPI_MASTER_SS_IDLENESS_00CYCLE;
  hspi3.Init.MasterInterDataIdleness = SPI_MASTER_INTERDATA_IDLENESS_00CYCLE;
  hspi3.Init.MasterReceiverAutoSusp = SPI_MASTER_RX_AUTOSUSP_DISABLE;
  hspi3.Init.MasterKeepIOState = SPI_MASTER_KEEP_IO_STATE_DISABLE;
  hspi3.Init.IOSwap = SPI_IO_SWAP_DISABLE;
  hspi3.Init.ReadyMasterManagement = SPI_RDY_MASTER_MANAGEMENT_INTERNALLY;
  hspi3.Init.ReadyPolarity = SPI_RDY_POLARITY_HIGH;
  if (HAL_SPI_Init(&hspi3) != HAL_OK)
  {
    Error_Handler();
  }
  HAL_SPI_AutonomousMode_Cfg_Struct.TriggerState = SPI_AUTO_MODE_DISABLE;
  HAL_SPI_AutonomousMode_Cfg_Struct.TriggerSelection = SPI_GRP2_LPDMA_CH0_TCF_TRG;
  HAL_SPI_AutonomousMode_Cfg_Struct.TriggerPolarity = SPI_TRIG_POLARITY_RISING;
  if (HAL_SPIEx_SetConfigAutonomousMode(&hspi3, &HAL_SPI_AutonomousMode_Cfg_Struct) != HAL_OK)
  {
    Error_Handler();
  }

}

static void MX_TIM2_Init(void)
{

  TIM_ClockConfigTypeDef sClockSourceConfig = {0};
  TIM_MasterConfigTypeDef sMasterConfig = {0};

  htim2.Instance = TIM2;
  htim2.Init.Prescaler = 15;
  htim2.Init.CounterMode = TIM_COUNTERMODE_UP;
  htim2.Init.Period = 33332;
  htim2.Init.ClockDivision = TIM_CLOCKDIVISION_DIV1;
  htim2.Init.AutoReloadPreload = TIM_AUTORELOAD_PRELOAD_DISABLE;
  if (HAL_TIM_Base_Init(&htim2) != HAL_OK)
  {
    Error_Handler();
  }
  sClockSourceConfig.ClockSource = TIM_CLOCKSOURCE_INTERNAL;
  if (HAL_TIM_ConfigClockSource(&htim2, &sClockSourceConfig) != HAL_OK)
  {
    Error_Handler();
  }
  sMasterConfig.MasterOutputTrigger = TIM_TRGO_RESET;
  sMasterConfig.MasterSlaveMode = TIM_MASTERSLAVEMODE_DISABLE;
  if (HAL_TIMEx_MasterConfigSynchronization(&htim2, &sMasterConfig) != HAL_OK)
  {
    Error_Handler();
  }

}

static void MX_USB_OTG_FS_PCD_Init(void)
{

  hpcd_USB_OTG_FS.Instance = USB_OTG_FS;
  hpcd_USB_OTG_FS.Init.dev_endpoints = 6;
  hpcd_USB_OTG_FS.Init.speed = PCD_SPEED_FULL;
  hpcd_USB_OTG_FS.Init.phy_itface = PCD_PHY_EMBEDDED;
  hpcd_USB_OTG_FS.Init.Sof_enable = DISABLE;
  hpcd_USB_OTG_FS.Init.low_power_enable = DISABLE;
  hpcd_USB_OTG_FS.Init.lpm_enable = DISABLE;
  hpcd_USB_OTG_FS.Init.battery_charging_enable = DISABLE;
  hpcd_USB_OTG_FS.Init.use_dedicated_ep1 = DISABLE;
  hpcd_USB_OTG_FS.Init.vbus_sensing_enable = DISABLE;
  hpcd_USB_OTG_FS.Init.dma_enable = DISABLE;
  if (HAL_PCD_Init(&hpcd_USB_OTG_FS) != HAL_OK)
  {
    Error_Handler();
  }
  /* USER CODE BEGIN USB_OTG_FS_Init 2 */
  /* Configure USB OTG FS FIFOs for EP0 + MSC bulk IN/OUT. */
  if (HAL_PCDEx_SetRxFiFo(&hpcd_USB_OTG_FS, 0x80U) != HAL_OK)
  {
    Error_Handler();
  }
  if (HAL_PCDEx_SetTxFiFo(&hpcd_USB_OTG_FS, 0U, 0x40U) != HAL_OK)
  {
    Error_Handler();
  }
  if (HAL_PCDEx_SetTxFiFo(&hpcd_USB_OTG_FS, 1U, 0x80U) != HAL_OK)
  {
    Error_Handler();
  }

  /* USER CODE END USB_OTG_FS_Init 2 */

}

static void MX_GPIO_Init(void)
{
  GPIO_InitTypeDef GPIO_InitStruct = {0};

  /* GPIO Ports Clock Enable */
  __HAL_RCC_GPIOC_CLK_ENABLE();
  __HAL_RCC_GPIOA_CLK_ENABLE();
  __HAL_RCC_GPIOB_CLK_ENABLE();
  __HAL_RCC_GPIOD_CLK_ENABLE();
  __HAL_RCC_GPIOH_CLK_ENABLE();

  /*Configure GPIO pin Output Level */
  HAL_GPIO_WritePin(E5_RST_GPIO_Port, E5_RST_Pin, GPIO_PIN_SET);

  /*Configure GPIO pin Output Level */
  HAL_GPIO_WritePin(VLT_E5_GPIO_Port, VLT_E5_Pin, GPIO_PIN_SET);

  /*Configure GPIO pin Output Level */
  HAL_GPIO_WritePin(GPIOC, E5_BOOT_Pin|SD_MODE_Pin|VLT_LCD_Pin, GPIO_PIN_RESET);

  /*Configure GPIO pin Output Level */
  HAL_GPIO_WritePin(SPI3_CS_GPIO_Port, SPI3_CS_Pin, GPIO_PIN_RESET);

  /*Configure GPIO pin : BTN_B_Pin */
  GPIO_InitStruct.Pin = BTN_B_Pin;
  GPIO_InitStruct.Mode = GPIO_MODE_IT_RISING_FALLING;
  GPIO_InitStruct.Pull = GPIO_NOPULL;
  HAL_GPIO_Init(BTN_B_GPIO_Port, &GPIO_InitStruct);

  /*Configure GPIO pins : E5_RST_Pin E5_BOOT_Pin SD_MODE_Pin VLT_LCD_Pin */
  GPIO_InitStruct.Pin = E5_RST_Pin|E5_BOOT_Pin|SD_MODE_Pin|VLT_LCD_Pin;
  GPIO_InitStruct.Mode = GPIO_MODE_OUTPUT_PP;
  GPIO_InitStruct.Pull = GPIO_NOPULL;
  GPIO_InitStruct.Speed = GPIO_SPEED_FREQ_LOW;
  HAL_GPIO_Init(GPIOC, &GPIO_InitStruct);

  /*Configure GPIO pin : BTN_A_Pin */
  GPIO_InitStruct.Pin = BTN_A_Pin;
  GPIO_InitStruct.Mode = GPIO_MODE_IT_RISING_FALLING;
  GPIO_InitStruct.Pull = GPIO_NOPULL;
  HAL_GPIO_Init(BTN_A_GPIO_Port, &GPIO_InitStruct);

  /*Configure GPIO pin : VLT_E5_Pin */
  GPIO_InitStruct.Pin = VLT_E5_Pin;
  GPIO_InitStruct.Mode = GPIO_MODE_OUTPUT_PP;
  GPIO_InitStruct.Pull = GPIO_NOPULL;
  GPIO_InitStruct.Speed = GPIO_SPEED_FREQ_LOW;
  HAL_GPIO_Init(VLT_E5_GPIO_Port, &GPIO_InitStruct);

  /*Configure GPIO pins : LIS2DUX_INT2_Pin LIS2DUX_INT1_Pin ADP5360_INT_Pin */
  GPIO_InitStruct.Pin = LIS2DUX_INT2_Pin|LIS2DUX_INT1_Pin|ADP5360_INT_Pin;
  GPIO_InitStruct.Mode = GPIO_MODE_IT_RISING;
  GPIO_InitStruct.Pull = GPIO_NOPULL;
  HAL_GPIO_Init(GPIOB, &GPIO_InitStruct);

  /*Configure GPIO pin : TMAG5273_INT_Pin */
  GPIO_InitStruct.Pin = TMAG5273_INT_Pin;
  GPIO_InitStruct.Mode = GPIO_MODE_IT_RISING;
  GPIO_InitStruct.Pull = GPIO_NOPULL;
  HAL_GPIO_Init(TMAG5273_INT_GPIO_Port, &GPIO_InitStruct);

  /*Configure GPIO pin : SPI3_CS_Pin */
  GPIO_InitStruct.Pin = SPI3_CS_Pin;
  GPIO_InitStruct.Mode = GPIO_MODE_OUTPUT_PP;
  GPIO_InitStruct.Pull = GPIO_NOPULL;
  GPIO_InitStruct.Speed = GPIO_SPEED_FREQ_LOW;
  HAL_GPIO_Init(SPI3_CS_GPIO_Port, &GPIO_InitStruct);

  /*Configure GPIO pin : BTN_BOOT_Pin */
  GPIO_InitStruct.Pin = BTN_BOOT_Pin;
  GPIO_InitStruct.Mode = GPIO_MODE_IT_RISING_FALLING;
  GPIO_InitStruct.Pull = GPIO_NOPULL;
  HAL_GPIO_Init(BTN_BOOT_GPIO_Port, &GPIO_InitStruct);

  /*Configure GPIO pins : BTN_L_Pin BTN_R_Pin */
  GPIO_InitStruct.Pin = BTN_L_Pin|BTN_R_Pin;
  GPIO_InitStruct.Mode = GPIO_MODE_IT_RISING_FALLING;
  GPIO_InitStruct.Pull = GPIO_NOPULL;
  HAL_GPIO_Init(GPIOB, &GPIO_InitStruct);

  /* EXTI interrupt init*/
  HAL_NVIC_SetPriority(EXTI1_IRQn, 5, 0);
  HAL_NVIC_EnableIRQ(EXTI1_IRQn);

  HAL_NVIC_SetPriority(EXTI2_IRQn, 5, 0);
  HAL_NVIC_EnableIRQ(EXTI2_IRQn);

  HAL_NVIC_SetPriority(EXTI3_IRQn, 5, 0);
  HAL_NVIC_EnableIRQ(EXTI3_IRQn);

  HAL_NVIC_SetPriority(EXTI6_IRQn, 5, 0);
  HAL_NVIC_EnableIRQ(EXTI6_IRQn);

  HAL_NVIC_SetPriority(EXTI8_IRQn, 5, 0);
  HAL_NVIC_EnableIRQ(EXTI8_IRQn);

  HAL_NVIC_SetPriority(EXTI9_IRQn, 5, 0);
  HAL_NVIC_EnableIRQ(EXTI9_IRQn);

  HAL_NVIC_SetPriority(EXTI13_IRQn, 5, 0);
  HAL_NVIC_EnableIRQ(EXTI13_IRQn);

  HAL_NVIC_SetPriority(EXTI14_IRQn, 5, 0);
  HAL_NVIC_EnableIRQ(EXTI14_IRQn);

  HAL_NVIC_SetPriority(EXTI15_IRQn, 5, 0);
  HAL_NVIC_EnableIRQ(EXTI15_IRQn);

/* USER CODE BEGIN MX_GPIO_Init_2 */
  {
    GPIO_InitTypeDef gpio_btn = {0};

    gpio_btn.Mode = GPIO_MODE_IT_RISING_FALLING;
    gpio_btn.Pull = GPIO_PULLUP;

    gpio_btn.Pin = BTN_A_Pin;
    HAL_GPIO_Init(BTN_A_GPIO_Port, &gpio_btn);

    gpio_btn.Pin = BTN_B_Pin;
    HAL_GPIO_Init(BTN_B_GPIO_Port, &gpio_btn);

    gpio_btn.Pin = BTN_BOOT_Pin;
    HAL_GPIO_Init(BTN_BOOT_GPIO_Port, &gpio_btn);

    gpio_btn.Pin = BTN_L_Pin | BTN_R_Pin;
    HAL_GPIO_Init(GPIOB, &gpio_btn);
  }
/* USER CODE END MX_GPIO_Init_2 */
}

void HAL_TIM_PeriodElapsedCallback(TIM_HandleTypeDef *htim)
{
  if (htim->Instance == TIM6) {
    HAL_IncTick();
  }
}

void Error_Handler(void)
{
  __disable_irq();
  while (1)
  {
  }
}
